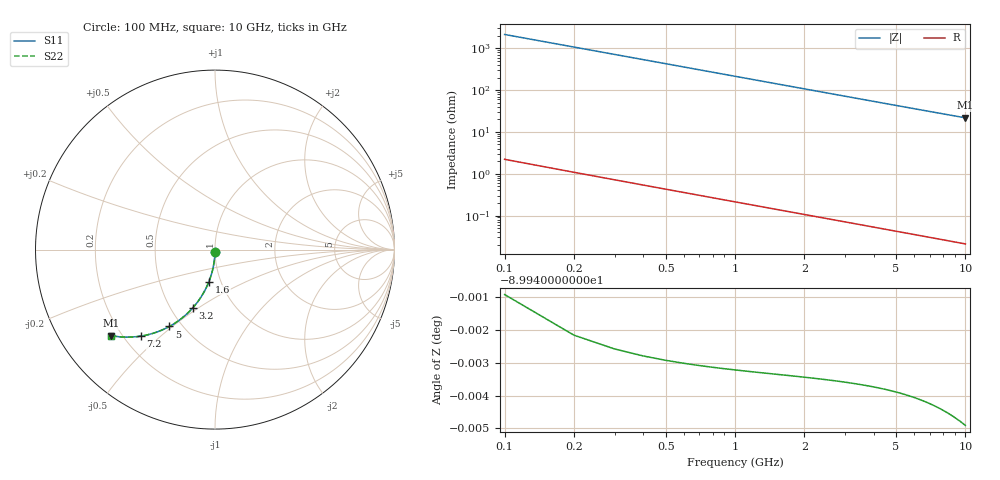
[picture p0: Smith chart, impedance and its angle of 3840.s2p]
# Hz S RI R 50.00
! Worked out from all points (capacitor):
!   100 points, 100 MHz to 10 GHz, reference 50 ohm
!   read as one part in shunt: C = 743 fF near 100 MHz
!   lowest |Z| = 21.7 ohm at 10 GHz (marker M1)
!   S11 on the Smith chart (normalised r, x): 100 MHz: 1.00, -0.02; 1.6 GHz: 0.88, -0.32; 3.2 GHz: 0.65, -0.47; 5 GHz: 0.43, -0.49; 7.2 GHz: 0.27, -0.43; 10 GHz: 0.16, -0.35
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1e8  -0.000125 -0.0115  0.9998 -0.0118  0.9998 -0.0118  -0.000125 -0.0115
2e8  -0.000545 -0.0231  0.9994 -0.0236  0.9994 -0.0236  -0.000545 -0.0231
3e8  -0.00124 -0.0346  0.9987 -0.0354  0.9987 -0.0354  -0.00124 -0.0346
4e8  -0.0022 -0.046  0.9978 -0.0471  0.9978 -0.0471  -0.0022 -0.046
5e8  -0.00343 -0.0575  0.9965 -0.0588  0.9965 -0.0588  -0.00343 -0.0575
6e8  -0.00492 -0.0689  0.995 -0.0705  0.995 -0.0705  -0.00492 -0.0689
7e8  -0.00668 -0.0802  0.9933 -0.0821  0.9933 -0.0821  -0.00668 -0.0802
9e8  -0.011 -0.1026  0.989 -0.1051  0.989 -0.1051  -0.011 -0.1026
1.2e9  -0.0193 -0.1357  0.9806 -0.1389  0.9806 -0.1389  -0.0193 -0.1357
1.6e9  -0.0338 -0.1782  0.9661 -0.1825  0.9661 -0.1825  -0.0338 -0.1782
1.8e9  -0.0424 -0.1986  0.9575 -0.2035  0.9575 -0.2035  -0.0424 -0.1986
2.4e9  -0.0729 -0.2563  0.927 -0.2628  0.927 -0.2628  -0.0729 -0.2563
2.8e9  -0.0966 -0.2912  0.9033 -0.2988  0.9033 -0.2988  -0.0966 -0.2912
3.2e9  -0.1226 -0.3231  0.8774 -0.3318  0.8774 -0.3318  -0.1226 -0.3231
3.4e9  -0.1362 -0.3379  0.8637 -0.3472  0.8637 -0.3472  -0.1362 -0.3379
4.2e9  -0.1938 -0.3891  0.806 -0.4006  0.806 -0.4006  -0.1938 -0.3891
5e9  -0.2541 -0.428  0.7457 -0.4418  0.7457 -0.4418  -0.2541 -0.428
5.1e9  -0.2617 -0.4321  0.7382 -0.4461  0.7382 -0.4461  -0.2617 -0.4321
6.7e9  -0.3795 -0.4755  0.6202 -0.4941  0.6202 -0.4941  -0.3795 -0.4755
7.2e9  -0.414 -0.4821  0.5858 -0.5021  0.5858 -0.5021  -0.414 -0.4821
8.4e9  -0.4903 -0.4876  0.5094 -0.5112  0.5094 -0.5112  -0.4903 -0.4876
1e10  -0.577 -0.4794  0.4225 -0.5076  0.4225 -0.5076  -0.577 -0.4794
